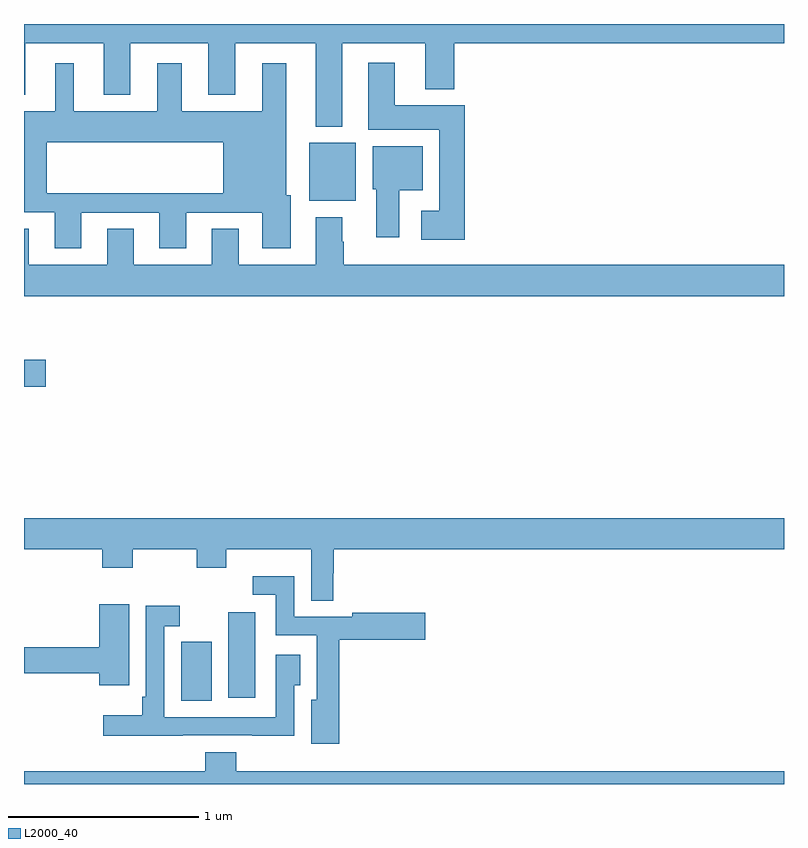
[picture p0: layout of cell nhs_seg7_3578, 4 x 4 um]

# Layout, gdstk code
import gdstk
lib = gdstk.Library(unit=1e-6, precision=1e-09)
def R(c, l, rs):  # rectangles x0, y0, x1, y1
    for r in rs: c.add(gdstk.rectangle(r[:2], r[2:], *l))
def P(c, l, *ps):  # polygons
    for p in ps: c.add(gdstk.Polygon(p, *l))
L2000_40 = (2000, 40)

nhs_seg7_3578 = lib.new_cell('nhs_seg7_3578')
R(nhs_seg7_3578, L2000_40, [(339.827,1046.437,339.988,1046.748), (340.076,1046.454,340.216,1046.905), (339,1048.091,339.115,1048.233), (340.502,1049.069,340.747,1049.374)])
P(nhs_seg7_3578, L2000_40, [(340.675,1049.9),(341.111,1049.9),(341.111,1049.657),(341.264,1049.657),(341.264,1049.9),(343,1049.9),(343,1050),(339,1050),(339,1049.627),(339.007,1049.627),(339.007,1049.9),(339.419,1049.9),(339.419,1049.627),(339.559,1049.627),(339.559,1049.9),(339.971,1049.9),(339.971,1049.627),(340.111,1049.627),(340.111,1049.9),(340.535,1049.9),(340.535,1049.459),(340.675,1049.459)],
  [(341.321,1049.572),(340.951,1049.572),(340.951,1049.797),(340.811,1049.797),(340.811,1049.444),(341.186,1049.444),(341.186,1049.017),(341.091,1049.017),(341.091,1048.865),(341.321,1048.865)],
  [(339.161,1049.01),(339.161,1048.821),(339.301,1048.821),(339.301,1049.007),(339.713,1049.007),(339.713,1048.821),(339.853,1048.821),(339.853,1049.007),(340.253,1049.007),(340.253,1048.821),(340.405,1048.821),(340.405,1049.1),(340.381,1049.1),(340.381,1049.794),(340.253,1049.794),(340.253,1049.542),(339.829,1049.542),(339.829,1049.794),(339.701,1049.794),(339.701,1049.542),(339.262,1049.542),(339.262,1049.794),(339.164,1049.794),(339.164,1049.542),(339,1049.542),(339,1049.108),(339.119,1049.108),(339.119,1049.378),(340.049,1049.378),(340.049,1049.108),(339.119,1049.108),(339,1049.108),(339,1049.01)],
  [(340.975,1049.126),(341.098,1049.126),(341.098,1049.356),(340.835,1049.356),(340.835,1049.13),(340.853,1049.13),(340.853,1048.878),(340.975,1048.878)],
  [(343,1048.732),(340.683,1048.732),(340.683,1048.853),(340.675,1048.853),(340.675,1048.984),(340.535,1048.984),(340.535,1048.732),(340.129,1048.732),(340.129,1048.922),(339.989,1048.922),(339.989,1048.732),(339.577,1048.732),(339.577,1048.922),(339.437,1048.922),(339.437,1048.732),(339.025,1048.732),(339.025,1048.922),(339,1048.922),(339,1048.568),(343,1048.568)],
  [(340.628,1047.108),(340.63,1047.108),(340.63,1047.236),(343,1047.236),(343,1047.4),(339,1047.4),(339,1047.236),(339.413,1047.236),(339.413,1047.137),(339.573,1047.137),(339.573,1047.236),(339.91,1047.236),(339.91,1047.137),(340.065,1047.137),(340.065,1047.236),(340.511,1047.236),(340.511,1046.965),(340.628,1046.965)],
  [(340.66,1046.759),(341.113,1046.759),(341.113,1046.901),(340.728,1046.901),(340.728,1046.88),(340.422,1046.88),(340.422,1047.094),(340.203,1047.094),(340.203,1046.997),(340.326,1046.997),(340.326,1046.784),(340.541,1046.784),(340.541,1046.443),(340.511,1046.443),(340.511,1046.211),(340.66,1046.211)],
  [(339.553,1046.947),(339.395,1046.947),(339.395,1046.72),(339,1046.72),(339,1046.584),(339.395,1046.584),(339.395,1046.52),(339.553,1046.52)],
  [(339.835,1046.256),(340.201,1046.256),(340.201,1046.255),(340.422,1046.255),(340.422,1046.521),(340.453,1046.521),(340.453,1046.68),(340.326,1046.68),(340.326,1046.352),(339.738,1046.352),(339.738,1046.829),(339.82,1046.829),(339.82,1046.938),(339.642,1046.938),(339.642,1046.458),(339.622,1046.458),(339.622,1046.362),(339.417,1046.362),(339.417,1046.255),(339.835,1046.255)],
  [(343,1046.068),(340.118,1046.068),(340.118,1046.167),(339.953,1046.167),(339.953,1046.068),(339,1046.068),(339,1046),(343,1046)])

lib.write_gds('nhs_seg7_3578.gds')
